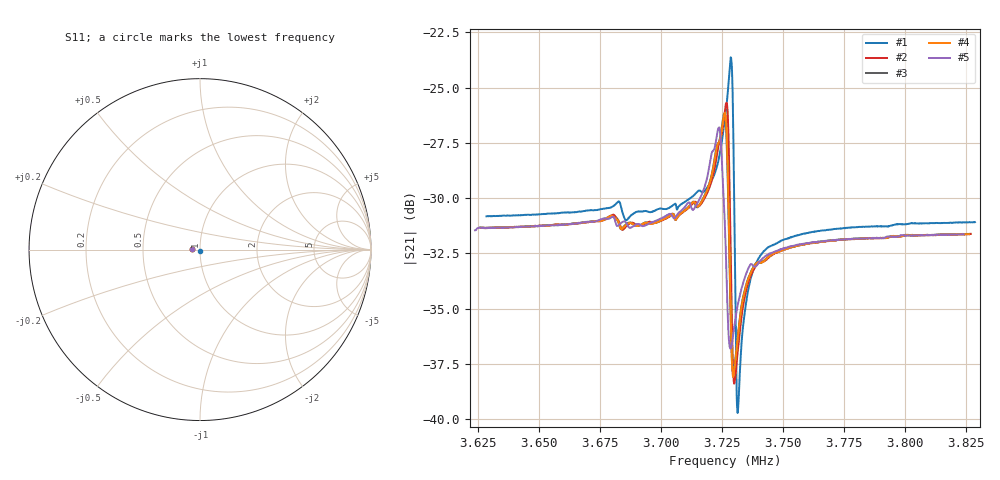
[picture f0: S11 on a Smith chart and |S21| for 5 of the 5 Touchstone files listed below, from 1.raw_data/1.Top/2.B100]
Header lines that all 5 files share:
# Hz S dB R 50.000
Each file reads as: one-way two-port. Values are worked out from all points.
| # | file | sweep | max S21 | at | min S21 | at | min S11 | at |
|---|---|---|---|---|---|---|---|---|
| 1 | B100_20C.s2p | 3.629 MHz to 3.829 MHz | -23.63 dB | 3.729 MHz | -39.7 dB | 3.731 MHz | -43.7 dB | 3.691 MHz |
| 2 | B100_35C.s2p | 3.627 MHz to 3.827 MHz | -25.68 dB | 3.727 MHz | -38.4 dB | 3.73 MHz | -26.6 dB | 3.826 MHz |
| 3 | B100_40C.s2p | 3.626 MHz to 3.826 MHz | -26.15 dB | 3.726 MHz | -37.9 dB | 3.73 MHz | -26.5 dB | 3.82 MHz |
| 4 | B100_45C.s2p | 3.626 MHz to 3.826 MHz | -26.13 dB | 3.726 MHz | -38.1 dB | 3.73 MHz | -26.5 dB | 3.825 MHz |
| 5 | B100_65C.s2p | 3.624 MHz to 3.824 MHz | -26.80 dB | 3.724 MHz | -36.8 dB | 3.729 MHz | -26.6 dB | 3.822 MHz |
